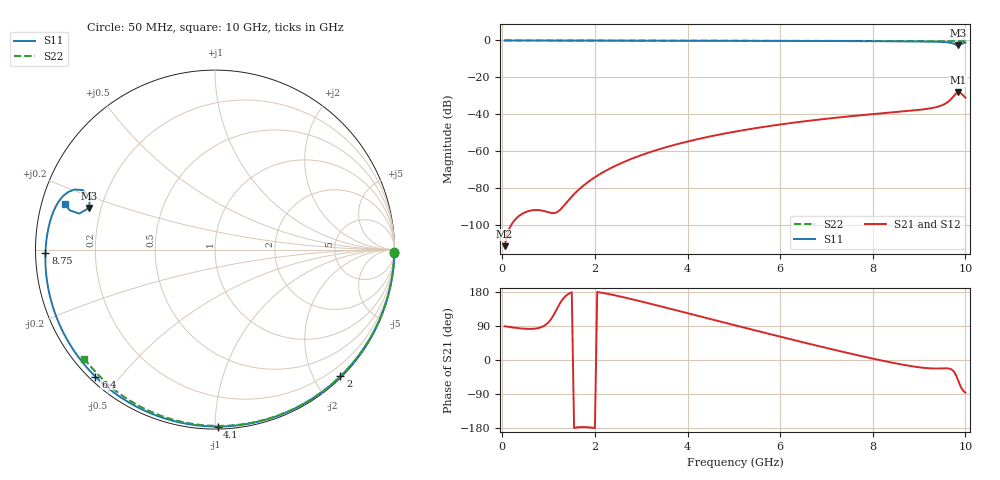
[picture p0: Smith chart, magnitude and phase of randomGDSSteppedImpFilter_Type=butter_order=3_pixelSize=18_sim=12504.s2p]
! freq	dB(S11)	phase(S11)	dB(S12)	phase(S12)
!  dB(S21)	phase(S21)	dB(S22)	phase(S22)
!S-par simulation data
#  GHz  S  DB  R 50
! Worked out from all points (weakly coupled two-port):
!   200 points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, 50 MHz to 10 GHz, reference 50 ohm
!   highest |S21| = -28.04 dB at 9.85 GHz (marker M1); lowest = -111.5 dB at 50 MHz (marker M2)
!   lowest |S11| = -2.6 dB at 9.85 GHz (marker M3), VSWR 6.64, Z = 7.72 + j7.89 ohm
!   |S11| at or under -10 dB: nowhere
!   |S22| runs from -0.5 to 0.0 dB; largest |S21 - S12| = 0
!   S11 on the Smith chart (normalised r, x): 50 MHz: 0, -98; 2 GHz: 0.02, -2.40; 4.1 GHz: 0.01, -1.01; 6.4 GHz: 0.02, -0.43; 8.75 GHz: 0.03, -0.01; 10 GHz: 0.07, +0.15
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0.05  -0.00 -1.2  -111.49 89.1  -111.49 89.1  -0.00 -0.8
0.85  -0.02 -19.5  -92.16 87.1  -92.16 87.1  -0.02 -13.7
1.65  -0.05 -37.6  -80.87 -177.3  -80.87 -177.3  -0.03 -26.4
1.75  -0.05 -39.8  -78.70 -176.9  -78.70 -176.9  -0.04 -28.0
2  -0.06 -45.3  -74.12 -179.6  -74.12 -179.6  -0.04 -31.9
2.6  -0.07 -58.3  -66.14 166.1  -66.14 166.1  -0.05 -41.2
3.4  -0.10 -75.0  -58.86 142.3  -58.86 142.3  -0.07 -53.3
4.1  -0.12 -89.2  -54.17 120.5  -54.17 120.5  -0.09 -63.5
5.05  -0.16 -107.7  -49.29 90.8  -49.29 90.8  -0.12 -77.0
6.4  -0.25 -133.3  -44.21 49.5  -44.21 49.5  -0.18 -95.2
6.7  -0.27 -138.9  -43.29 40.6  -43.29 40.6  -0.19 -99.1
7.55  -0.34 -155.0  -40.99 16.0  -40.99 16.0  -0.24 -110.0
8.35  -0.43 -170.7  -39.13 -5.4  -39.13 -5.4  -0.31 -120.0
8.75  -0.49 -178.9  -38.23 -14.6  -38.23 -14.6  -0.34 -124.9
9.2  -0.60 171.1  -36.96 -21.7  -36.96 -21.7  -0.39 -130.5
9.45  -0.74 164.7  -35.56 -22.3  -35.56 -22.3  -0.42 -133.5
9.6  -0.97 160.2  -33.73 -21.9  -33.73 -21.9  -0.43 -135.3
9.7  -1.41 156.8  -31.51 -24.9  -31.51 -24.9  -0.44 -136.5
9.75  -1.84 155.8  -30.06 -30.3  -30.06 -30.3  -0.45 -137.1
9.85  -2.63 161.6  -28.04 -55.9  -28.04 -55.9  -0.44 -138.3
9.9  -2.13 165.1  -28.55 -70.8  -28.55 -70.8  -0.44 -139.0
10  -1.16 163.0  -30.93 -86.3  -30.93 -86.3  -0.45 -140.3
